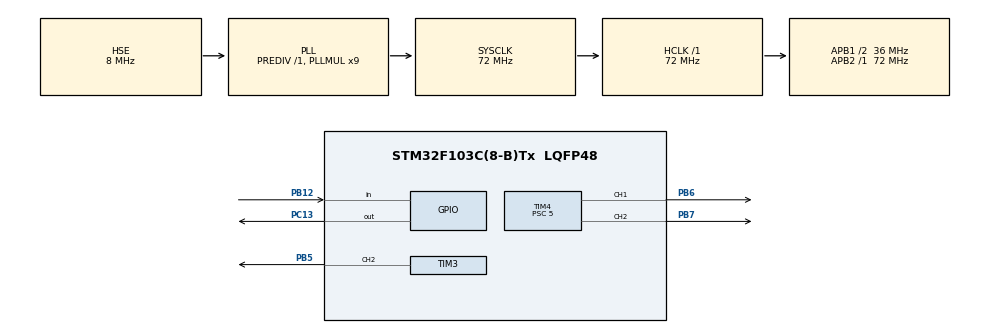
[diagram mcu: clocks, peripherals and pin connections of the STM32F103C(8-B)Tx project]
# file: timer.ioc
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Mcu.Family=STM32F1
Mcu.Name=STM32F103C(8-B)Tx
Mcu.Package=LQFP48
NVIC.PriorityGroup=NVIC_PRIORITYGROUP_4
NVIC.TIM1_UP_IRQn=true\:0\:0\:false\:false\:true\:true\:true\:true
PA13.Mode=Serial_Wire
PA13.Signal=SYS_JTMS-SWDIO
PA14.Mode=Serial_Wire
PA14.Signal=SYS_JTCK-SWCLK
PB12.GPIO_PuPd=GPIO_PULLUP
PB12.Signal=GPIO_Input
PB5.Signal=S_TIM3_CH2
PB6.Signal=S_TIM4_CH1
PB7.Signal=S_TIM4_CH2
PC13-TAMPER-RTC.GPIO_PuPd=GPIO_NOPULL
PC13-TAMPER-RTC.Signal=GPIO_Output
PD0-OSC_IN.Mode=HSE-External-Oscillator
PD0-OSC_IN.Signal=RCC_OSC_IN
PD1-OSC_OUT.Mode=HSE-External-Oscillator
PD1-OSC_OUT.Signal=RCC_OSC_OUT
ProjectManager.HeapSize=0x3000
ProjectManager.StackSize=0x1000
ProjectManager.TargetToolchain=STM32CubeIDE
RCC.AHBFreq_Value=72000000
RCC.APB1CLKDivider=RCC_HCLK_DIV2
RCC.APB1Freq_Value=36000000
RCC.APB1TimFreq_Value=72000000
RCC.APB2Freq_Value=72000000
RCC.APB2TimFreq_Value=72000000
RCC.HCLKFreq_Value=72000000
RCC.PLLMUL=RCC_PLL_MUL9
RCC.PLLSourceVirtual=RCC_PLLSOURCE_HSE
RCC.SYSCLKFreq_VALUE=72000000
RCC.SYSCLKSource=RCC_SYSCLKSOURCE_PLLCLK
RCC.USBFreq_Value=72000000
SH.S_TIM3_CH2.0=TIM3_CH2,PWM Generation2 CH2
SH.S_TIM4_CH1.0=TIM4_CH1,PWM Generation1 CH1
SH.S_TIM4_CH2.0=TIM4_CH2,PWM Generation2 CH2
TIM1.Period=50000
TIM1.Prescaler=719
TIM3.AutoReloadPreload=TIM_AUTORELOAD_PRELOAD_ENABLE
TIM3.Channel-PWM\ Generation2\ CH2=TIM_CHANNEL_2
TIM3.Period=999
TIM3.Prescaler=5
TIM3.Pulse-PWM\ Generation2\ CH2=200
TIM4.AutoReloadPreload=TIM_AUTORELOAD_PRELOAD_ENABLE
TIM4.Channel-PWM\ Generation1\ CH1=TIM_CHANNEL_1
TIM4.Channel-PWM\ Generation2\ CH2=TIM_CHANNEL_2
TIM4.Period=999
TIM4.Prescaler=5
TIM4.Pulse-PWM\ Generation1\ CH1=200
TIM4.Pulse-PWM\ Generation2\ CH2=200
VP_TIM1_VS_ClockSourceINT.Mode=Internal
board=custom

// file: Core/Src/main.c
/* USER CODE BEGIN Header */
/**
 * Использование таймеров в STM32
Настройка проекта в CubeMX:
1. Создайте новый проект или выполните базовые настройки.
2. Переключите пин PB4 в режим
TIM3_CH1, PB5 в режим TIM3_CH2,  PB3 в TIM2_CH2,

В настройках первого таймера выберите режим для первого канала – «PWM Generation
CH2», и задайте следующие опции:
– Counter Settings:
Prescaler: 5;
Counter Period: 999;
Internal Clock Division: No Division;
auto-reload preload: Enable.
– PWM Generation Channel 1:
Pulse: 200.
7. Для третьего канала укажите «PWM Generation CH3» и следующие опции:
– PWM Generation Channel 2:
Pulse: 800.
8. Аналогично откройте опции третьего таймера («Сategories»→
«Timers» → «TIM3»), выберите для второго канала режим «PWM
Generation CH2» и задайте следующие опции:
– Counter Settings:
Prescaler: 47;
Counter Period: 999;
Internal Clock Division: No Division;
auto-reload preload: Enable.
– PWM Generation Channel 2:
Pulse: 500.

Prescaler (PSC).

Это регистр предделителя. Предделитель делит частоту тактирования таймера, поступающую на основной счетчик.
По сути, он, вместе с входной частотой,  определяет разрешающую способность таймера.
Счетчик предделителя считает входные импульсы от 0 до значения этого регистра. При равенстве кода счетчика и
регистра счетчик сбрасывается и начинает считать заново. В момент сброса формируется импульс тактирования основного
счетчика таймера. Таким образом, значение регистра предделителя определяет коэффициент деления частоты входного сигнала.
Счетчик и регистр предделителя 16-ти разрядные. Т.е. максимальный коэффициент деления 65536.
Надо помнить, что реальный коэффициент деления на 1 больше, чем значение регистра предделителя.
Регистр предделителя имеет буферный регистр. Поэтому его значение можно устанавливать в любой момент.
Реальное изменение коэффициента деления произойдет при перезагрузке буферного регистра в момент перезагрузки
 основного счетчика таймера.

 */
/**
  ******************************************************************************
  * @file           : main.c
  * @brief          : Main program body
  ******************************************************************************
  * @attention
  *
  * Copyright (c) 2025 STMicroelectronics.
  * All rights reserved.
  *
  * This software is licensed under terms that can be found in the LICENSE file
  * in the root directory of this software component.
  * If no LICENSE file comes with this software, it is provided AS-IS.
  *
  ******************************************************************************
  */
/* USER CODE END Header */
#include "main.h"

TIM_HandleTypeDef htim1;
TIM_HandleTypeDef htim3;
TIM_HandleTypeDef htim4;

void SystemClock_Config(void);
static void MX_GPIO_Init(void);
static void MX_TIM3_Init(void);
static void MX_TIM4_Init(void);
static void MX_TIM1_Init(void);

int main(void)
{

  /* MCU Configuration--------------------------------------------------------*/

  /* Reset of all peripherals, Initializes the Flash interface and the Systick. */
  HAL_Init();

  /* Configure the system clock */
  SystemClock_Config();

  /* Initialize all configured peripherals */
  MX_GPIO_Init();
  MX_TIM3_Init();
  MX_TIM4_Init();
  MX_TIM1_Init();
  /* USER CODE BEGIN 2 */
  // local variable with pointer to timer struct
  TIM_HandleTypeDef *tim3 = &htim3;
  TIM_HandleTypeDef *tim4 = &htim4;
  TIM_HandleTypeDef *tim1 = &htim1;
  // timer channel
  uint32_t tim_led_channel2 = TIM_CHANNEL_2;
  uint32_t tim_led_channel1 = TIM_CHANNEL_1;

  // timer tick frequency CNT
  uint32_t tim_led_cnt_tick_freq;
  // helper variables for timer parameters calculations
  uint32_t arr_value;
  uint32_t cc_value;
  // reset CCR register
  __HAL_TIM_SET_COMPARE(tim3, tim_led_channel2, 0);
  __HAL_TIM_SET_COMPARE(tim4, tim_led_channel1, 0);
  __HAL_TIM_SET_COMPARE(tim4, tim_led_channel2, 0);
  // run timer
  HAL_TIM_PWM_Start(tim3, tim_led_channel2);
  HAL_TIM_PWM_Start(tim4, tim_led_channel1);
  HAL_TIM_PWM_Start(tim4, tim_led_channel2);
  // calculate timer tick frequency: f_tick = f_sysclcock
  // f_tick = f_sysclcock / (CDK * (PSK + 1));
  tim_led_cnt_tick_freq = SystemCoreClock;
  switch (__HAL_TIM_GET_CLOCKDIVISION(tim3)) {
	  case TIM_CLOCKDIVISION_DIV1:
		  tim_led_cnt_tick_freq /= 1;
		  break;
	  case TIM_CLOCKDIVISION_DIV2:
		  tim_led_cnt_tick_freq /= 2;
		  break;
	  case TIM_CLOCKDIVISION_DIV4:
		  tim_led_cnt_tick_freq /= 4;
		  break;
  }
  tim_led_cnt_tick_freq /= (tim3->Instance->PSC + 1);

  HAL_TIM_Base_Start_IT(&htim1); // запуск таймера TIM1

  /* USER CODE END 2 */

  /* Infinite loop */
  /* USER CODE BEGIN WHILE */
  while (1)
  {
	  // PWN signal with 0.0 duty cycle (i.e. output is always 0)
	  arr_value = 999;
	  cc_value = 0;
	  __HAL_TIM_SET_AUTORELOAD(tim3, arr_value);
	  __HAL_TIM_SET_COMPARE(tim3, tim_led_channel2, cc_value);

	  __HAL_TIM_SET_AUTORELOAD(tim4, arr_value);
	  __HAL_TIM_SET_COMPARE(tim4, tim_led_channel1, cc_value);
	  __HAL_TIM_SET_COMPARE(tim4, tim_led_channel2, cc_value);
	  HAL_Delay(2000);
	  // PWM signal
	  // frequency: 1000 Hz
	  // duty cycle: 0.5
	  arr_value = tim_led_cnt_tick_freq / 1000 - 1;
	  cc_value = (arr_value + 1) * 0.5f;
	  __HAL_TIM_SET_AUTORELOAD(tim3, arr_value);
	  __HAL_TIM_SET_COMPARE(tim3, tim_led_channel2, cc_value);

	  __HAL_TIM_SET_AUTORELOAD(tim4, arr_value);
	  __HAL_TIM_SET_COMPARE(tim4, tim_led_channel1, cc_value);
	  __HAL_TIM_SET_COMPARE(tim4, tim_led_channel2, cc_value);

	  HAL_Delay(2000);
	  // PWM signal
	  // frequency: 2000 Hz
	  // duty cycle: 0.2
	  arr_value = tim_led_cnt_tick_freq / 2000 - 1;
	  cc_value = (arr_value + 1) * 0.2f;
	  __HAL_TIM_SET_AUTORELOAD(tim3, arr_value);
	  __HAL_TIM_SET_COMPARE(tim3, tim_led_channel2, cc_value);
	  __HAL_TIM_SET_AUTORELOAD(tim4, arr_value);
	  __HAL_TIM_SET_COMPARE(tim4, tim_led_channel1, cc_value);
	  __HAL_TIM_SET_COMPARE(tim4, tim_led_channel2, cc_value);
	  HAL_Delay(2000);
	  // PWM signal
	  // frequency: 2000 Hz
	  // duty cycle: 0.8
	  arr_value = tim_led_cnt_tick_freq / 2000 - 1;
	  cc_value = (arr_value + 1) * 0.8f;
	  __HAL_TIM_SET_AUTORELOAD(tim3, arr_value);
	  __HAL_TIM_SET_COMPARE(tim3, tim_led_channel2, cc_value);
	  __HAL_TIM_SET_AUTORELOAD(tim4, arr_value);
	  __HAL_TIM_SET_COMPARE(tim4, tim_led_channel1, cc_value);
	  __HAL_TIM_SET_COMPARE(tim4, tim_led_channel2, cc_value);
	  HAL_Delay(2000);
	  // PWN signal with 1.0 duty cycle (i.e. output is always 1)
	  arr_value = 999;
	  cc_value = 1000;
	  __HAL_TIM_SET_AUTORELOAD(tim3, arr_value);
	  __HAL_TIM_SET_COMPARE(tim3, tim_led_channel2, cc_value);
	  __HAL_TIM_SET_AUTORELOAD(tim4, arr_value);
	  __HAL_TIM_SET_COMPARE(tim4, tim_led_channel1, cc_value);
	  __HAL_TIM_SET_COMPARE(tim4, tim_led_channel2, cc_value);
	  HAL_Delay(2000);
    /* USER CODE END WHILE */

  }
}

void SystemClock_Config(void)
{
  RCC_OscInitTypeDef RCC_OscInitStruct = {0};
  RCC_ClkInitTypeDef RCC_ClkInitStruct = {0};

  /** Initializes the RCC Oscillators according to the specified parameters
  * in the RCC_OscInitTypeDef structure.
  */
  RCC_OscInitStruct.OscillatorType = RCC_OSCILLATORTYPE_HSE;
  RCC_OscInitStruct.HSEState = RCC_HSE_ON;
  RCC_OscInitStruct.HSEPredivValue = RCC_HSE_PREDIV_DIV1;
  RCC_OscInitStruct.HSIState = RCC_HSI_ON;
  RCC_OscInitStruct.PLL.PLLState = RCC_PLL_ON;
  RCC_OscInitStruct.PLL.PLLSource = RCC_PLLSOURCE_HSE;
  RCC_OscInitStruct.PLL.PLLMUL = RCC_PLL_MUL9;
  if (HAL_RCC_OscConfig(&RCC_OscInitStruct) != HAL_OK)
  {
    Error_Handler();
  }

  /** Initializes the CPU, AHB and APB buses clocks
  */
  RCC_ClkInitStruct.ClockType = RCC_CLOCKTYPE_HCLK|RCC_CLOCKTYPE_SYSCLK
                              |RCC_CLOCKTYPE_PCLK1|RCC_CLOCKTYPE_PCLK2;
  RCC_ClkInitStruct.SYSCLKSource = RCC_SYSCLKSOURCE_PLLCLK;
  RCC_ClkInitStruct.AHBCLKDivider = RCC_SYSCLK_DIV1;
  RCC_ClkInitStruct.APB1CLKDivider = RCC_HCLK_DIV2;
  RCC_ClkInitStruct.APB2CLKDivider = RCC_HCLK_DIV1;

  if (HAL_RCC_ClockConfig(&RCC_ClkInitStruct, FLASH_LATENCY_2) != HAL_OK)
  {
    Error_Handler();
  }
}

static void MX_TIM1_Init(void)
{

  TIM_ClockConfigTypeDef sClockSourceConfig = {0};
  TIM_MasterConfigTypeDef sMasterConfig = {0};

  htim1.Instance = TIM1;
  htim1.Init.Prescaler = 719;
  htim1.Init.CounterMode = TIM_COUNTERMODE_UP;
  htim1.Init.Period = 50000;
  htim1.Init.ClockDivision = TIM_CLOCKDIVISION_DIV1;
  htim1.Init.RepetitionCounter = 0;
  htim1.Init.AutoReloadPreload = TIM_AUTORELOAD_PRELOAD_DISABLE;
  if (HAL_TIM_Base_Init(&htim1) != HAL_OK)
  {
    Error_Handler();
  }
  sClockSourceConfig.ClockSource = TIM_CLOCKSOURCE_INTERNAL;
  if (HAL_TIM_ConfigClockSource(&htim1, &sClockSourceConfig) != HAL_OK)
  {
    Error_Handler();
  }
  sMasterConfig.MasterOutputTrigger = TIM_TRGO_RESET;
  sMasterConfig.MasterSlaveMode = TIM_MASTERSLAVEMODE_DISABLE;
  if (HAL_TIMEx_MasterConfigSynchronization(&htim1, &sMasterConfig) != HAL_OK)
  {
    Error_Handler();
  }

}

static void MX_TIM3_Init(void)
{

  TIM_MasterConfigTypeDef sMasterConfig = {0};
  TIM_OC_InitTypeDef sConfigOC = {0};

  htim3.Instance = TIM3;
  htim3.Init.Prescaler = 5;
  htim3.Init.CounterMode = TIM_COUNTERMODE_UP;
  htim3.Init.Period = 999;
  htim3.Init.ClockDivision = TIM_CLOCKDIVISION_DIV1;
  htim3.Init.AutoReloadPreload = TIM_AUTORELOAD_PRELOAD_ENABLE;
  if (HAL_TIM_PWM_Init(&htim3) != HAL_OK)
  {
    Error_Handler();
  }
  sMasterConfig.MasterOutputTrigger = TIM_TRGO_RESET;
  sMasterConfig.MasterSlaveMode = TIM_MASTERSLAVEMODE_DISABLE;
  if (HAL_TIMEx_MasterConfigSynchronization(&htim3, &sMasterConfig) != HAL_OK)
  {
    Error_Handler();
  }
  sConfigOC.OCMode = TIM_OCMODE_PWM1;
  sConfigOC.Pulse = 200;
  sConfigOC.OCPolarity = TIM_OCPOLARITY_HIGH;
  sConfigOC.OCFastMode = TIM_OCFAST_DISABLE;
  if (HAL_TIM_PWM_ConfigChannel(&htim3, &sConfigOC, TIM_CHANNEL_2) != HAL_OK)
  {
    Error_Handler();
  }
  HAL_TIM_MspPostInit(&htim3);

}

static void MX_TIM4_Init(void)
{

  TIM_MasterConfigTypeDef sMasterConfig = {0};
  TIM_OC_InitTypeDef sConfigOC = {0};

  htim4.Instance = TIM4;
  htim4.Init.Prescaler = 5;
  htim4.Init.CounterMode = TIM_COUNTERMODE_UP;
  htim4.Init.Period = 999;
  htim4.Init.ClockDivision = TIM_CLOCKDIVISION_DIV1;
  htim4.Init.AutoReloadPreload = TIM_AUTORELOAD_PRELOAD_ENABLE;
  if (HAL_TIM_PWM_Init(&htim4) != HAL_OK)
  {
    Error_Handler();
  }
  sMasterConfig.MasterOutputTrigger = TIM_TRGO_RESET;
  sMasterConfig.MasterSlaveMode = TIM_MASTERSLAVEMODE_DISABLE;
  if (HAL_TIMEx_MasterConfigSynchronization(&htim4, &sMasterConfig) != HAL_OK)
  {
    Error_Handler();
  }
  sConfigOC.OCMode = TIM_OCMODE_PWM1;
  sConfigOC.Pulse = 200;
  sConfigOC.OCPolarity = TIM_OCPOLARITY_HIGH;
  sConfigOC.OCFastMode = TIM_OCFAST_DISABLE;
  if (HAL_TIM_PWM_ConfigChannel(&htim4, &sConfigOC, TIM_CHANNEL_1) != HAL_OK)
  {
    Error_Handler();
  }
  if (HAL_TIM_PWM_ConfigChannel(&htim4, &sConfigOC, TIM_CHANNEL_2) != HAL_OK)
  {
    Error_Handler();
  }
  HAL_TIM_MspPostInit(&htim4);

}

static void MX_GPIO_Init(void)
{
  GPIO_InitTypeDef GPIO_InitStruct = {0};

  /* GPIO Ports Clock Enable */
  __HAL_RCC_GPIOC_CLK_ENABLE();
  __HAL_RCC_GPIOD_CLK_ENABLE();
  __HAL_RCC_GPIOB_CLK_ENABLE();
  __HAL_RCC_GPIOA_CLK_ENABLE();

  /*Configure GPIO pin Output Level */
  HAL_GPIO_WritePin(GPIOC, GPIO_PIN_13, GPIO_PIN_RESET);

  /*Configure GPIO pin : PC13 */
  GPIO_InitStruct.Pin = GPIO_PIN_13;
  GPIO_InitStruct.Mode = GPIO_MODE_OUTPUT_PP;
  GPIO_InitStruct.Pull = GPIO_NOPULL;
  GPIO_InitStruct.Speed = GPIO_SPEED_FREQ_LOW;
  HAL_GPIO_Init(GPIOC, &GPIO_InitStruct);

  /*Configure GPIO pin : PB12 */
  GPIO_InitStruct.Pin = GPIO_PIN_12;
  GPIO_InitStruct.Mode = GPIO_MODE_INPUT;
  GPIO_InitStruct.Pull = GPIO_PULLUP;
  HAL_GPIO_Init(GPIOB, &GPIO_InitStruct);

}

void Error_Handler(void)
{
  __disable_irq();
  while (1)
  {
  }
}
